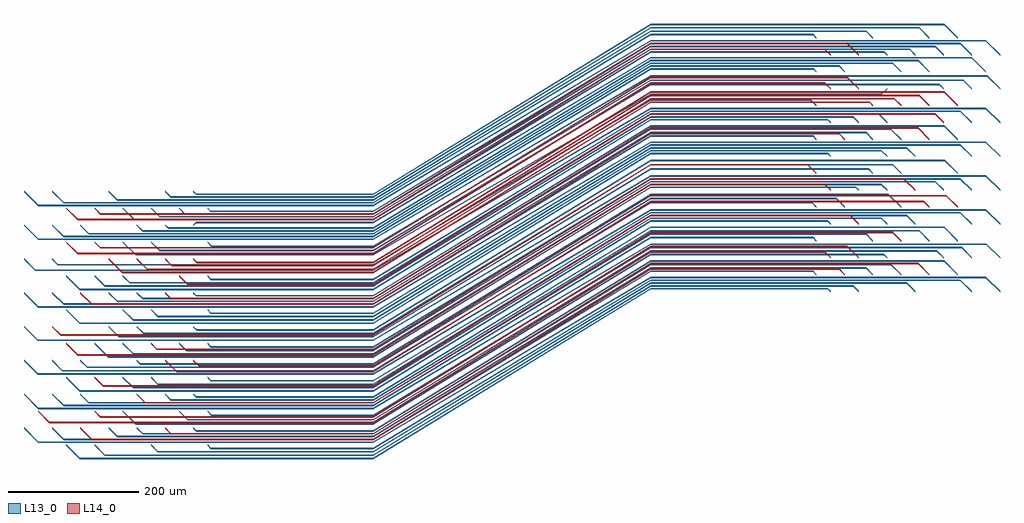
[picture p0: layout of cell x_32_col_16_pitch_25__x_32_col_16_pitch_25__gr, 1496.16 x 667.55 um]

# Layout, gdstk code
import gdstk
lib = gdstk.Library(unit=1e-6, precision=1e-09)
def R(c, l, rs):  # rectangles x0, y0, x1, y1
    for r in rs: c.add(gdstk.rectangle(r[:2], r[2:], *l))
def A(c, l, x, y, w, h, nx, ny, dx, dy):  # array of equal rectangles
    R(c, l, [(x+i*dx, y+j*dy, x+i*dx+w, y+j*dy+h) for i in range(nx) for j in range(ny)])
def P(c, l, *ps):  # polygons
    for p in ps: c.add(gdstk.Polygon(p, *l))
L13_0 = (13, 0)
L14_0 = (14, 0)

x_32_col_16_pitch_25__x_ = lib.new_cell('x_32_col_16_pitch_25__x_32_col_16_pitch_25__gr')
A(x_32_col_16_pitch_25__x_, L13_0, 1425.106, 1466.224, 449.894, 2, 1, 3, 0, 103.68)
A(x_32_col_16_pitch_25__x_, L13_0, 1544.638, 1476.592, 330.362, 2, 1, 3, 0, 103.68)
A(x_32_col_16_pitch_25__x_, L13_0, 1506.522, 1575.088, 368.478, 2, 1, 3, 0, 51.84)
A(x_32_col_16_pitch_25__x_, L13_0, 1626.054, 1585.456, 248.946, 2, 1, 4, 0, 51.84)
A(x_32_col_16_pitch_25__x_, L13_0, 2300, 1726.56, 271.46, 2, 1, 3, 0, 103.68)
A(x_32_col_16_pitch_25__x_, L13_0, 2300, 1735.2, 392.72, 2, 1, 3, 0, 103.68)
A(x_32_col_16_pitch_25__x_, L13_0, 2300, 1805.184, 248.946, 2, 1, 3, 0, 155.52)
A(x_32_col_16_pitch_25__x_, L13_0, 2300, 1810.368, 330.362, 2, 1, 3, 0, 155.52)
A(x_32_col_16_pitch_25__x_, L13_0, 2300, 1820.736, 449.894, 2, 1, 3, 0, 155.52)
A(x_32_col_16_pitch_25__x_, L13_0, 2300, 1834.56, 353.74, 2, 1, 3, 0, 51.84)
A(x_32_col_16_pitch_25__x_, L13_0, 2300, 1843.2, 475, 2, 1, 4, 0, 51.84)
A(x_32_col_16_pitch_25__x_, L13_0, 2300, 1847.52, 513.982, 2, 1, 4, 0, 51.84)
R(x_32_col_16_pitch_25__x_, L13_0, [(1463.222,1471.408,1875,1473.408), (1626.054,1481.776,1875,1483.776), (1361.017,1491.28,1875,1493.28), (1400,1495.6,1875,1497.6), (1482.28,1499.92,1875,1501.92), (1521.26,1504.24,1875,1506.24), (1603.54,1508.56,1875,1510.56), (1510.41,1519.36,1875,1521.36), (1590.53,1525.84,1875,1527.84), (1627.35,1532.32,1875,1534.32), (1361.017,1543.12,1875,1545.12), (1400,1547.44,1875,1549.44), (1438.98,1551.76,1875,1553.76), (1564.56,1556.08,1875,1558.08), (1603.54,1560.4,1875,1562.4), (1360.153,1595.824,1875,1597.824), (1398.272,1601.008,1875,1603.008), (1436.388,1606.192,1875,1608.192), (1517.804,1611.376,1875,1613.376), (1468.406,1621.744,1875,1623.744), (1587.938,1632.112,1875,1634.112), (1360.153,1647.664,1875,1649.664), (1484.872,1652.848,1875,1654.848), (1522.988,1658.032,1875,1660.032), (1604.404,1663.216,1875,1665.216), (1361.017,1698.64,1875,1700.64), (1400,1702.96,1875,1704.96), (1482.28,1707.28,1875,1709.28), (1521.26,1711.6,1875,1713.6), (1603.54,1715.92,1875,1717.92), (1425.106,1725.424,1875,1727.424), (1463.222,1730.608,1875,1732.608), (2300,1730.88,2610.44,1732.88), (1501.338,1735.792,1875,1737.792), (2300,1739.52,2775,1741.52), (2300,1743.84,2813.982,1745.84), (2300,1753.344,2548.946,1755.344), (1356.697,1754.8,1875,1756.8), (2300,1758.528,2630.362,1760.528), (1391.36,1763.44,1875,1765.44), (2300,1763.712,2668.478,1765.712), (2300,1768.896,2749.894,1770.896), (1510.41,1778.56,1875,1780.56), (2300,1779.264,2657.196,1781.264), (2300,1784.448,2738.612,1786.448), (1547.23,1785.04,1875,1787.04), (2300,1789.632,2776.728,1791.632), (1627.35,1791.52,1875,1793.52), (2300,1794.816,2814.846,1796.816), (1361.017,1802.32,1875,1804.32), (1400,1806.64,1875,1808.64), (1438.98,1810.96,1875,1812.96), (1521.26,1815.28,1875,1817.28), (2300,1815.552,2711.778,1817.552), (1560.24,1819.6,1875,1821.6), (1603.54,1828.24,1875,1830.24), (1508.25,1832.56,1875,1834.56), (1547.23,1836.88,1875,1838.88), (1586.21,1841.2,1875,1843.2), (1625.19,1845.52,1875,1847.52), (1361.017,1854.16,1875,1856.16), (2300,1858.32,2547.65,1860.32), (1400,1858.48,1875,1860.48), (1482.28,1862.8,1875,1864.8), (2300,1864.8,2584.47,1866.8), (1564.56,1867.12,1875,1869.12), (2300,1871.28,2664.59,1873.28), (1603.54,1871.44,1875,1873.44), (2300,1882.08,2614.76,1884.08), (2300,1890.72,2736.02,1892.72), (2300,1910.16,2634.25,1912.16), (2300,1916.64,2671.07,1918.64), (2300,1923.12,2751.19,1925.12), (2300,1971.072,2668.478,1973.072), (2300,1985.76,2571.46,1987.76), (2300,1990.08,2610.44,1992.08), (2300,1994.4,2649.42,1996.4), (2300,2016,2545.49,2018), (2300,2024.64,2653.74,2026.64), (2300,2039.76,2742.5,2041.76), (2300,2046.24,2779.32,2048.24), (2300,2052.72,2816.142,2054.72), (2300,2063.52,2549.81,2065.52), (2300,2067.84,2588.79,2069.84), (2300,2072.16,2671.07,2074.16), (2300,2076.48,2710.05,2078.48), (2300,2080.8,2792.332,2082.8), (2300,2089.44,2658.06,2091.44), (2300,2093.76,2697.04,2095.76), (2300,2098.08,2736.02,2100.08), (2300,2102.4,2775,2104.4), (2300,2106.72,2813.982,2108.72), (2300,2126.592,2711.778,2128.592)])
P(x_32_col_16_pitch_25__x_, L13_0, [(2554.13,2111.04),(2554.13,2113.04),(2548.946,2118.224),(2548.946,2116.224)],
  [(2300,2116.224),(2300,2118.224),(1875,1860.48),(1875,1858.48)],
  [(1400,1858.48),(1400,1860.48),(1382.72,1877.76),(1382.72,1875.76)],
  [(2640.73,2111.04),(2640.73,2113.04),(2630.362,2123.408),(2630.362,2121.408)],
  [(2300,2121.408),(2300,2123.408),(1875,1864.8),(1875,1862.8)],
  [(1482.28,1862.8),(1482.28,1864.8),(1469.32,1877.76),(1469.32,1875.76)],
  [(2727.33,2111.04),(2727.33,2113.04),(2711.778,2128.592),(2711.778,2126.592)],
  [(2300,2126.592),(2300,2128.592),(1875,1869.12),(1875,1867.12)],
  [(1564.56,1867.12),(1564.56,1869.12),(1555.92,1877.76),(1555.92,1875.76)],
  [(2770.63,2111.04),(2770.63,2113.04),(2749.894,2133.776),(2749.894,2131.776)],
  [(2300,2131.776),(2300,2133.776),(1875,1873.44),(1875,1871.44)],
  [(1603.54,1871.44),(1603.54,1873.44),(1599.22,1877.76),(1599.22,1875.76)],
  [(2662.38,2085.12),(2662.38,2087.12),(2658.06,2091.44),(2658.06,2089.44)],
  [(2300,2089.44),(2300,2091.44),(1875,1834.56),(1875,1832.56)],
  [(1508.25,1832.56),(1508.25,1834.56),(1490.97,1851.84),(1490.97,1849.84)],
  [(2705.68,2085.12),(2705.68,2087.12),(2697.04,2095.76),(2697.04,2093.76)],
  [(2300,2093.76),(2300,2095.76),(1875,1838.88),(1875,1836.88)],
  [(1547.23,1836.88),(1547.23,1838.88),(1534.27,1851.84),(1534.27,1849.84)],
  [(2748.98,2085.12),(2748.98,2087.12),(2736.02,2100.08),(2736.02,2098.08)],
  [(2300,2098.08),(2300,2100.08),(1875,1843.2),(1875,1841.2)],
  [(1586.21,1841.2),(1586.21,1843.2),(1577.57,1851.84),(1577.57,1849.84)],
  [(2792.28,2085.12),(2792.28,2087.12),(2775,2104.4),(2775,2102.4)],
  [(2300,2102.4),(2300,2104.4),(1875,1847.52),(1875,1845.52)],
  [(1625.19,1845.52),(1625.19,1847.52),(1620.87,1851.84),(1620.87,1849.84)],
  [(2835.582,2085.12),(2835.582,2087.12),(2813.982,2108.72),(2813.982,2106.72)],
  [(2300,2106.72),(2300,2108.72),(1875,1856.16),(1875,1854.16)],
  [(1361.017,1854.16),(1361.017,1856.16),(1339.417,1877.76),(1339.417,1875.76)],
  [(2554.13,2059.2),(2554.13,2061.2),(2549.81,2065.52),(2549.81,2063.52)],
  [(2300,2063.52),(2300,2065.52),(1875,1808.64),(1875,1806.64)],
  [(1400,1806.64),(1400,1808.64),(1382.72,1825.92),(1382.72,1823.92)],
  [(2597.43,2059.2),(2597.43,2061.2),(2588.79,2069.84),(2588.79,2067.84)],
  [(2300,2067.84),(2300,2069.84),(1875,1812.96),(1875,1810.96)],
  [(1438.98,1810.96),(1438.98,1812.96),(1426.02,1825.92),(1426.02,1823.92)],
  [(2684.03,2059.2),(2684.03,2061.2),(2671.07,2074.16),(2671.07,2072.16)],
  [(2300,2072.16),(2300,2074.16),(1875,1817.28),(1875,1815.28)],
  [(1521.26,1815.28),(1521.26,1817.28),(1512.62,1825.92),(1512.62,1823.92)],
  [(2727.33,2059.2),(2727.33,2061.2),(2710.05,2078.48),(2710.05,2076.48)],
  [(2300,2076.48),(2300,2078.48),(1875,1821.6),(1875,1819.6)],
  [(1560.24,1819.6),(1560.24,1821.6),(1555.92,1825.92),(1555.92,1823.92)],
  [(2813.932,2059.2),(2813.932,2061.2),(2792.332,2082.8),(2792.332,2080.8)],
  [(2300,2080.8),(2300,2082.8),(1875,1830.24),(1875,1828.24)],
  [(1603.54,1828.24),(1603.54,1830.24),(1599.22,1825.92),(1599.22,1823.92)],
  [(2662.38,2033.28),(2662.38,2035.28),(2653.74,2026.64),(2653.74,2024.64)],
  [(2300,2024.64),(2300,2026.64),(1875,1780.56),(1875,1778.56)],
  [(1510.41,1778.56),(1510.41,1780.56),(1490.97,1800),(1490.97,1798)],
  [(2748.98,2033.28),(2748.98,2035.28),(2742.5,2041.76),(2742.5,2039.76)],
  [(2300,2039.76),(2300,2041.76),(1875,1787.04),(1875,1785.04)],
  [(1547.23,1785.04),(1547.23,1787.04),(1534.27,1800),(1534.27,1798)],
  [(2792.28,2033.28),(2792.28,2035.28),(2779.32,2048.24),(2779.32,2046.24)],
  [(2300,2046.24),(2300,2048.24),(1875,1793.52),(1875,1791.52)],
  [(1627.35,1791.52),(1627.35,1793.52),(1620.87,1800),(1620.87,1798)],
  [(2835.582,2033.28),(2835.582,2035.28),(2816.142,2054.72),(2816.142,2052.72)],
  [(2300,2052.72),(2300,2054.72),(1875,1804.32),(1875,1802.32)],
  [(1361.017,1802.32),(1361.017,1804.32),(1339.417,1825.92),(1339.417,1823.92)],
  [(2554.13,2007.36),(2554.13,2009.36),(2545.49,2018),(2545.49,2016)],
  [(2300,2016),(2300,2018),(1875,1765.44),(1875,1763.44)],
  [(1391.36,1763.44),(1391.36,1765.44),(1382.72,1774.08),(1382.72,1772.08)],
  [(2575.78,1981.44),(2575.78,1983.44),(2571.46,1987.76),(2571.46,1985.76)],
  [(2300,1985.76),(2300,1987.76),(1875,1727.424),(1875,1725.424)],
  [(1425.106,1725.424),(1425.106,1727.424),(1404.37,1748.16),(1404.37,1746.16)],
  [(2619.08,1981.44),(2619.08,1983.44),(2610.44,1992.08),(2610.44,1990.08)],
  [(2300,1990.08),(2300,1992.08),(1875,1732.608),(1875,1730.608)],
  [(1463.222,1730.608),(1463.222,1732.608),(1447.67,1748.16),(1447.67,1746.16)],
  [(2662.38,1981.44),(2662.38,1983.44),(2649.42,1996.4),(2649.42,1994.4)],
  [(2300,1994.4),(2300,1996.4),(1875,1737.792),(1875,1735.792)],
  [(1501.338,1735.792),(1501.338,1737.792),(1490.97,1748.16),(1490.97,1746.16)],
  [(2792.28,1981.44),(2792.28,1983.44),(2775,2000.72),(2775,1998.72)],
  [(2300,1998.72),(2300,2000.72),(1875,1742.976),(1875,1740.976)],
  [(1626.054,1740.976),(1626.054,1742.976),(1620.87,1748.16),(1620.87,1746.16)],
  [(2835.582,1981.44),(2835.582,1983.44),(2813.982,2005.04),(2813.982,2003.04)],
  [(2300,2003.04),(2300,2005.04),(1875,1756.8),(1875,1754.8)],
  [(1356.697,1754.8),(1356.697,1756.8),(1339.417,1774.08),(1339.417,1772.08)],
  [(2554.13,1955.52),(2554.13,1957.52),(2548.946,1962.704),(2548.946,1960.704)],
  [(2300,1960.704),(2300,1962.704),(1875,1704.96),(1875,1702.96)],
  [(1400,1702.96),(1400,1704.96),(1382.72,1722.24),(1382.72,1720.24)],
  [(2640.73,1955.52),(2640.73,1957.52),(2630.362,1967.888),(2630.362,1965.888)],
  [(2300,1965.888),(2300,1967.888),(1875,1709.28),(1875,1707.28)],
  [(1482.28,1707.28),(1482.28,1709.28),(1469.32,1722.24),(1469.32,1720.24)],
  [(2684.03,1955.52),(2684.03,1957.52),(2668.478,1973.072),(2668.478,1971.072)],
  [(2300,1971.072),(2300,1973.072),(1875,1713.6),(1875,1711.6)],
  [(1521.26,1711.6),(1521.26,1713.6),(1512.62,1722.24),(1512.62,1720.24)],
  [(2770.63,1955.52),(2770.63,1957.52),(2749.894,1978.256),(2749.894,1976.256)],
  [(2300,1976.256),(2300,1978.256),(1875,1717.92),(1875,1715.92)],
  [(1603.54,1715.92),(1603.54,1717.92),(1599.22,1722.24),(1599.22,1720.24)],
  [(2575.78,1929.6),(2575.78,1931.6),(2571.46,1935.92),(2571.46,1933.92)],
  [(2300,1933.92),(2300,1935.92),(1875,1675.584),(1875,1673.584)],
  [(1425.106,1673.584),(1425.106,1675.584),(1404.37,1696.32),(1404.37,1694.32)],
  [(2662.38,1929.6),(2662.38,1931.6),(2653.74,1940.24),(2653.74,1938.24)],
  [(2300,1938.24),(2300,1940.24),(1875,1680.768),(1875,1678.768)],
  [(1506.522,1678.768),(1506.522,1680.768),(1490.97,1696.32),(1490.97,1694.32)],
  [(2705.68,1929.6),(2705.68,1931.6),(2692.72,1944.56),(2692.72,1942.56)],
  [(2300,1942.56),(2300,1944.56),(1875,1685.952),(1875,1683.952)],
  [(1544.638,1683.952),(1544.638,1685.952),(1534.27,1696.32),(1534.27,1694.32)],
  [(2792.28,1929.6),(2792.28,1931.6),(2775,1948.88),(2775,1946.88)],
  [(2300,1946.88),(2300,1948.88),(1875,1691.136),(1875,1689.136)],
  [(1626.054,1689.136),(1626.054,1691.136),(1620.87,1696.32),(1620.87,1694.32)],
  [(2835.582,1929.6),(2835.582,1931.6),(2813.982,1953.2),(2813.982,1951.2)],
  [(2300,1951.2),(2300,1953.2),(1875,1700.64),(1875,1698.64)],
  [(1361.017,1698.64),(1361.017,1700.64),(1339.417,1722.24),(1339.417,1720.24)],
  [(2640.73,1903.68),(2640.73,1905.68),(2634.25,1912.16),(2634.25,1910.16)],
  [(2300,1910.16),(2300,1912.16),(1875,1654.848),(1875,1652.848)],
  [(1484.872,1652.848),(1484.872,1654.848),(1469.32,1670.4),(1469.32,1668.4)],
  [(2684.03,1903.68),(2684.03,1905.68),(2671.07,1918.64),(2671.07,1916.64)],
  [(2300,1916.64),(2300,1918.64),(1875,1660.032),(1875,1658.032)],
  [(1522.988,1658.032),(1522.988,1660.032),(1512.62,1670.4),(1512.62,1668.4)],
  [(2770.63,1903.68),(2770.63,1905.68),(2751.19,1925.12),(2751.19,1923.12)],
  [(2300,1923.12),(2300,1925.12),(1875,1665.216),(1875,1663.216)],
  [(1604.404,1663.216),(1604.404,1665.216),(1599.22,1670.4),(1599.22,1668.4)],
  [(2619.08,1877.76),(2619.08,1879.76),(2614.76,1884.08),(2614.76,1882.08)],
  [(2300,1882.08),(2300,1884.08),(1875,1623.744),(1875,1621.744)],
  [(1468.406,1621.744),(1468.406,1623.744),(1447.67,1644.48),(1447.67,1642.48)],
  [(2662.38,1877.76),(2662.38,1879.76),(2653.74,1888.4),(2653.74,1886.4)],
  [(2300,1886.4),(2300,1888.4),(1875,1628.928),(1875,1626.928)],
  [(1506.522,1626.928),(1506.522,1628.928),(1490.97,1644.48),(1490.97,1642.48)],
  [(2748.98,1877.76),(2748.98,1879.76),(2736.02,1892.72),(2736.02,1890.72)],
  [(2300,1890.72),(2300,1892.72),(1875,1634.112),(1875,1632.112)],
  [(1587.938,1632.112),(1587.938,1634.112),(1577.57,1644.48),(1577.57,1642.48)],
  [(2792.28,1877.76),(2792.28,1879.76),(2775,1897.04),(2775,1895.04)],
  [(2300,1895.04),(2300,1897.04),(1875,1639.296),(1875,1637.296)],
  [(1626.054,1637.296),(1626.054,1639.296),(1620.87,1644.48),(1620.87,1642.48)],
  [(2835.582,1877.76),(2835.582,1879.76),(2813.982,1901.36),(2813.982,1899.36)],
  [(2300,1899.36),(2300,1901.36),(1875,1649.664),(1875,1647.664)],
  [(1360.153,1647.664),(1360.153,1649.664),(1339.417,1670.4),(1339.417,1668.4)],
  [(2554.13,1851.84),(2554.13,1853.84),(2547.65,1860.32),(2547.65,1858.32)],
  [(2300,1858.32),(2300,1860.32),(1875,1603.008),(1875,1601.008)],
  [(1398.272,1601.008),(1398.272,1603.008),(1382.72,1618.56),(1382.72,1616.56)],
  [(2597.43,1851.84),(2597.43,1853.84),(2584.47,1866.8),(2584.47,1864.8)],
  [(2300,1864.8),(2300,1866.8),(1875,1608.192),(1875,1606.192)],
  [(1436.388,1606.192),(1436.388,1608.192),(1426.02,1618.56),(1426.02,1616.56)],
  [(2684.03,1851.84),(2684.03,1853.84),(2664.59,1873.28),(2664.59,1871.28)],
  [(2300,1871.28),(2300,1873.28),(1875,1613.376),(1875,1611.376)],
  [(1517.804,1611.376),(1517.804,1613.376),(1512.62,1618.56),(1512.62,1616.56)],
  [(2575.78,1825.92),(2575.78,1827.92),(2571.46,1832.24),(2571.46,1830.24)],
  [(2300,1830.24),(2300,1832.24),(1875,1571.904),(1875,1569.904)],
  [(1425.106,1569.904),(1425.106,1571.904),(1404.37,1592.64),(1404.37,1590.64)],
  [(2662.38,1825.92),(2662.38,1827.92),(2653.74,1836.56),(2653.74,1834.56)],
  [(2300,1834.56),(2300,1836.56),(1875,1577.088),(1875,1575.088)],
  [(1506.522,1575.088),(1506.522,1577.088),(1490.97,1592.64),(1490.97,1590.64)],
  [(2705.68,1825.92),(2705.68,1827.92),(2692.72,1840.88),(2692.72,1838.88)],
  [(2300,1838.88),(2300,1840.88),(1875,1582.272),(1875,1580.272)],
  [(1544.638,1580.272),(1544.638,1582.272),(1534.27,1592.64),(1534.27,1590.64)],
  [(2792.28,1825.92),(2792.28,1827.92),(2775,1845.2),(2775,1843.2)],
  [(2300,1843.2),(2300,1845.2),(1875,1587.456),(1875,1585.456)],
  [(1626.054,1585.456),(1626.054,1587.456),(1620.87,1592.64),(1620.87,1590.64)],
  [(2835.582,1825.92),(2835.582,1827.92),(2813.982,1849.52),(2813.982,1847.52)],
  [(2300,1847.52),(2300,1849.52),(1875,1597.824),(1875,1595.824)],
  [(1360.153,1595.824),(1360.153,1597.824),(1339.417,1618.56),(1339.417,1616.56)],
  [(2554.13,1800),(2554.13,1802),(2548.946,1807.184),(2548.946,1805.184)],
  [(2300,1805.184),(2300,1807.184),(1875,1549.44),(1875,1547.44)],
  [(1400,1547.44),(1400,1549.44),(1382.72,1566.72),(1382.72,1564.72)],
  [(2640.73,1800),(2640.73,1802),(2630.362,1812.368),(2630.362,1810.368)],
  [(2300,1810.368),(2300,1812.368),(1875,1553.76),(1875,1551.76)],
  [(1438.98,1551.76),(1438.98,1553.76),(1426.02,1566.72),(1426.02,1564.72)],
  [(2727.33,1800),(2727.33,1802),(2711.778,1817.552),(2711.778,1815.552)],
  [(2300,1815.552),(2300,1817.552),(1875,1558.08),(1875,1556.08)],
  [(1564.56,1556.08),(1564.56,1558.08),(1555.92,1566.72),(1555.92,1564.72)],
  [(2770.63,1800),(2770.63,1802),(2749.894,1822.736),(2749.894,1820.736)],
  [(2300,1820.736),(2300,1822.736),(1875,1562.4),(1875,1560.4)],
  [(1603.54,1560.4),(1603.54,1562.4),(1599.22,1566.72),(1599.22,1564.72)],
  [(2662.38,1774.08),(2662.38,1776.08),(2657.196,1781.264),(2657.196,1779.264)],
  [(2300,1779.264),(2300,1781.264),(1875,1521.36),(1875,1519.36)],
  [(1510.41,1519.36),(1510.41,1521.36),(1490.97,1540.8),(1490.97,1538.8)],
  [(2748.98,1774.08),(2748.98,1776.08),(2738.612,1786.448),(2738.612,1784.448)],
  [(2300,1784.448),(2300,1786.448),(1875,1527.84),(1875,1525.84)],
  [(1590.53,1525.84),(1590.53,1527.84),(1577.57,1540.8),(1577.57,1538.8)],
  [(2792.28,1774.08),(2792.28,1776.08),(2776.728,1791.632),(2776.728,1789.632)],
  [(2300,1789.632),(2300,1791.632),(1875,1534.32),(1875,1532.32)],
  [(1627.35,1532.32),(1627.35,1534.32),(1620.87,1540.8),(1620.87,1538.8)],
  [(2835.582,1774.08),(2835.582,1776.08),(2814.846,1796.816),(2814.846,1794.816)],
  [(2300,1794.816),(2300,1796.816),(1875,1545.12),(1875,1543.12)],
  [(1361.017,1543.12),(1361.017,1545.12),(1339.417,1566.72),(1339.417,1564.72)],
  [(2554.13,1748.16),(2554.13,1750.16),(2548.946,1755.344),(2548.946,1753.344)],
  [(2300,1753.344),(2300,1755.344),(1875,1497.6),(1875,1495.6)],
  [(1400,1495.6),(1400,1497.6),(1382.72,1514.88),(1382.72,1512.88)],
  [(2640.73,1748.16),(2640.73,1750.16),(2630.362,1760.528),(2630.362,1758.528)],
  [(2300,1758.528),(2300,1760.528),(1875,1501.92),(1875,1499.92)],
  [(1482.28,1499.92),(1482.28,1501.92),(1469.32,1514.88),(1469.32,1512.88)],
  [(2684.03,1748.16),(2684.03,1750.16),(2668.478,1765.712),(2668.478,1763.712)],
  [(2300,1763.712),(2300,1765.712),(1875,1506.24),(1875,1504.24)],
  [(1521.26,1504.24),(1521.26,1506.24),(1512.62,1514.88),(1512.62,1512.88)],
  [(2770.63,1748.16),(2770.63,1750.16),(2749.894,1770.896),(2749.894,1768.896)],
  [(2300,1768.896),(2300,1770.896),(1875,1510.56),(1875,1508.56)],
  [(1603.54,1508.56),(1603.54,1510.56),(1599.22,1514.88),(1599.22,1512.88)],
  [(2575.78,1722.24),(2575.78,1724.24),(2571.46,1728.56),(2571.46,1726.56)],
  [(2300,1726.56),(2300,1728.56),(1875,1468.224),(1875,1466.224)],
  [(1425.106,1466.224),(1425.106,1468.224),(1404.37,1488.96),(1404.37,1486.96)],
  [(2619.08,1722.24),(2619.08,1724.24),(2610.44,1732.88),(2610.44,1730.88)],
  [(2300,1730.88),(2300,1732.88),(1875,1473.408),(1875,1471.408)],
  [(1463.222,1471.408),(1463.222,1473.408),(1447.67,1488.96),(1447.67,1486.96)],
  [(2705.68,1722.24),(2705.68,1724.24),(2692.72,1737.2),(2692.72,1735.2)],
  [(2300,1735.2),(2300,1737.2),(1875,1478.592),(1875,1476.592)],
  [(1544.638,1476.592),(1544.638,1478.592),(1534.27,1488.96),(1534.27,1486.96)],
  [(2792.28,1722.24),(2792.28,1724.24),(2775,1741.52),(2775,1739.52)],
  [(2300,1739.52),(2300,1741.52),(1875,1483.776),(1875,1481.776)],
  [(1626.054,1481.776),(1626.054,1483.776),(1620.87,1488.96),(1620.87,1486.96)],
  [(2835.582,1722.24),(2835.582,1724.24),(2813.982,1745.84),(2813.982,1743.84)],
  [(2300,1743.84),(2300,1745.84),(1875,1493.28),(1875,1491.28)],
  [(1361.017,1491.28),(1361.017,1493.28),(1339.417,1514.88),(1339.417,1512.88)])
R(x_32_col_16_pitch_25__x_, L14_0, [(1443.3,1495.6,1875,1497.6), (1564.56,1504.24,1875,1506.24), (1378.347,1521.52,1875,1523.52), (1456.31,1530.16,1875,1532.16), (1525.58,1551.76,1875,1553.76), (1460.63,1577.68,1875,1579.68), (1573.2,1599.28,1875,1601.28), (1607.86,1607.92,1875,1609.92), (1421.65,1625.2,1875,1627.2), (1542.91,1633.84,1875,1635.84), (1395.68,1655.44,1875,1657.44), (1443.3,1702.96,1875,1704.96), (1564.56,1711.6,1875,1713.6), (1590.53,1733.2,1875,1735.2), (1490.056,1751.344,1875,1753.344), (1528.172,1756.528,1875,1758.528), (2300,1756.8,2588.79,1758.8), (1566.288,1761.712,1875,1763.712), (2300,1765.44,2710.05,1767.44), (1604.404,1766.896,1875,1768.896), (1421.65,1780.72,1875,1782.72), (2300,1782.72,2567.14,1784.72), (1456.31,1789.36,1875,1791.36), (2300,1791.36,2601.8,1793.36), (2300,1812.96,2671.07,1814.96), (1421.65,1832.56,1875,1834.56), (2300,1838.88,2606.12,1840.88), (1456.31,1841.2,1875,1843.2), (2300,1860.48,2718.69,1862.48), (2300,1869.12,2753.35,1871.12), (2300,1886.4,2567.14,1888.4), (2300,1895.04,2688.4,1897.04), (2300,1916.64,2541.17,1918.64), (2300,1964.16,2588.79,1966.16), (2300,1972.8,2710.05,1974.8), (2300,1994.4,2736.02,1996.4), (2300,2012.544,2635.546,2014.544), (2300,2017.728,2673.662,2019.728), (2300,2022.912,2711.778,2024.912), (2300,2028.096,2749.894,2030.096), (2300,2041.92,2567.14,2043.92), (2300,2050.56,2601.8,2052.56), (2300,2093.76,2567.14,2095.76), (2300,2102.4,2601.8,2104.4)])
P(x_32_col_16_pitch_25__x_, L14_0, [(2575.78,2085.12),(2575.78,2087.12),(2567.14,2095.76),(2567.14,2093.76)],
  [(2300,2093.76),(2300,2095.76),(1875,1834.56),(1875,1832.56)],
  [(1421.65,1832.56),(1421.65,1834.56),(1404.37,1851.84),(1404.37,1849.84)],
  [(2619.08,2085.12),(2619.08,2087.12),(2601.8,2104.4),(2601.8,2102.4)],
  [(2300,2102.4),(2300,2104.4),(1875,1843.2),(1875,1841.2)],
  [(1456.31,1841.2),(1456.31,1843.2),(1447.67,1851.84),(1447.67,1849.84)],
  [(2575.78,2033.28),(2575.78,2035.28),(2567.14,2043.92),(2567.14,2041.92)],
  [(2300,2041.92),(2300,2043.92),(1875,1782.72),(1875,1780.72)],
  [(1421.65,1780.72),(1421.65,1782.72),(1404.37,1800),(1404.37,1798)],
  [(2619.08,2033.28),(2619.08,2035.28),(2601.8,2052.56),(2601.8,2050.56)],
  [(2300,2050.56),(2300,2052.56),(1875,1791.36),(1875,1789.36)],
  [(1456.31,1789.36),(1456.31,1791.36),(1447.67,1800),(1447.67,1798)],
  [(2640.73,2007.36),(2640.73,2009.36),(2635.546,2014.544),(2635.546,2012.544)],
  [(2300,2012.544),(2300,2014.544),(1875,1753.344),(1875,1751.344)],
  [(1490.056,1751.344),(1490.056,1753.344),(1469.32,1774.08),(1469.32,1772.08)],
  [(2684.03,2007.36),(2684.03,2009.36),(2673.662,2019.728),(2673.662,2017.728)],
  [(2300,2017.728),(2300,2019.728),(1875,1758.528),(1875,1756.528)],
  [(1528.172,1756.528),(1528.172,1758.528),(1512.62,1774.08),(1512.62,1772.08)],
  [(2727.33,2007.36),(2727.33,2009.36),(2711.778,2024.912),(2711.778,2022.912)],
  [(2300,2022.912),(2300,2024.912),(1875,1763.712),(1875,1761.712)],
  [(1566.288,1761.712),(1566.288,1763.712),(1555.92,1774.08),(1555.92,1772.08)],
  [(2770.63,2007.36),(2770.63,2009.36),(2749.894,2030.096),(2749.894,2028.096)],
  [(2300,2028.096),(2300,2030.096),(1875,1768.896),(1875,1766.896)],
  [(1604.404,1766.896),(1604.404,1768.896),(1599.22,1774.08),(1599.22,1772.08)],
  [(2748.98,1981.44),(2748.98,1983.44),(2736.02,1996.4),(2736.02,1994.4)],
  [(2300,1994.4),(2300,1996.4),(1875,1735.2),(1875,1733.2)],
  [(1590.53,1733.2),(1590.53,1735.2),(1577.57,1748.16),(1577.57,1746.16)],
  [(2597.43,1955.52),(2597.43,1957.52),(2588.79,1966.16),(2588.79,1964.16)],
  [(2300,1964.16),(2300,1966.16),(1875,1704.96),(1875,1702.96)],
  [(1443.3,1702.96),(1443.3,1704.96),(1426.02,1722.24),(1426.02,1720.24)],
  [(2727.33,1955.52),(2727.33,1957.52),(2710.05,1974.8),(2710.05,1972.8)],
  [(2300,1972.8),(2300,1974.8),(1875,1713.6),(1875,1711.6)],
  [(1564.56,1711.6),(1564.56,1713.6),(1555.92,1722.24),(1555.92,1720.24)],
  [(2554.13,1903.68),(2554.13,1905.68),(2541.17,1918.64),(2541.17,1916.64)],
  [(2300,1916.64),(2300,1918.64),(1875,1657.44),(1875,1655.44)],
  [(1395.68,1655.44),(1395.68,1657.44),(1382.72,1670.4),(1382.72,1668.4)],
  [(2575.78,1877.76),(2575.78,1879.76),(2567.14,1888.4),(2567.14,1886.4)],
  [(2300,1886.4),(2300,1888.4),(1875,1627.2),(1875,1625.2)],
  [(1421.65,1625.2),(1421.65,1627.2),(1404.37,1644.48),(1404.37,1642.48)],
  [(2705.68,1877.76),(2705.68,1879.76),(2688.4,1897.04),(2688.4,1895.04)],
  [(2300,1895.04),(2300,1897.04),(1875,1635.84),(1875,1633.84)],
  [(1542.91,1633.84),(1542.91,1635.84),(1534.27,1644.48),(1534.27,1642.48)],
  [(2727.33,1851.84),(2727.33,1853.84),(2718.69,1862.48),(2718.69,1860.48)],
  [(2300,1860.48),(2300,1862.48),(1875,1601.28),(1875,1599.28)],
  [(1573.2,1599.28),(1573.2,1601.28),(1555.92,1618.56),(1555.92,1616.56)],
  [(2770.63,1851.84),(2770.63,1853.84),(2753.35,1871.12),(2753.35,1869.12)],
  [(2300,1869.12),(2300,1871.12),(1875,1609.92),(1875,1607.92)],
  [(1607.86,1607.92),(1607.86,1609.92),(1599.22,1618.56),(1599.22,1616.56)],
  [(2619.08,1825.92),(2619.08,1827.92),(2606.12,1840.88),(2606.12,1838.88)],
  [(2300,1838.88),(2300,1840.88),(1875,1579.68),(1875,1577.68)],
  [(1460.63,1577.68),(1460.63,1579.68),(1447.67,1592.64),(1447.67,1590.64)],
  [(2684.03,1800),(2684.03,1802),(2671.07,1814.96),(2671.07,1812.96)],
  [(2300,1812.96),(2300,1814.96),(1875,1553.76),(1875,1551.76)],
  [(1525.58,1551.76),(1525.58,1553.76),(1512.62,1566.72),(1512.62,1564.72)],
  [(2575.78,1774.08),(2575.78,1776.08),(2567.14,1784.72),(2567.14,1782.72)],
  [(2300,1782.72),(2300,1784.72),(1875,1523.52),(1875,1521.52)],
  [(1378.347,1521.52),(1378.347,1523.52),(1361.067,1540.8),(1361.067,1538.8)],
  [(2619.08,1774.08),(2619.08,1776.08),(2601.8,1793.36),(2601.8,1791.36)],
  [(2300,1791.36),(2300,1793.36),(1875,1532.16),(1875,1530.16)],
  [(1456.31,1530.16),(1456.31,1532.16),(1447.67,1540.8),(1447.67,1538.8)],
  [(2597.43,1748.16),(2597.43,1750.16),(2588.79,1758.8),(2588.79,1756.8)],
  [(2300,1756.8),(2300,1758.8),(1875,1497.6),(1875,1495.6)],
  [(1443.3,1495.6),(1443.3,1497.6),(1426.02,1514.88),(1426.02,1512.88)],
  [(2727.33,1748.16),(2727.33,1750.16),(2710.05,1767.44),(2710.05,1765.44)],
  [(2300,1765.44),(2300,1767.44),(1875,1506.24),(1875,1504.24)],
  [(1564.56,1504.24),(1564.56,1506.24),(1555.92,1514.88),(1555.92,1512.88)])

lib.write_gds('x_32_col_16_pitch_25__x_32_col_16_pitch_25__gr.gds')
